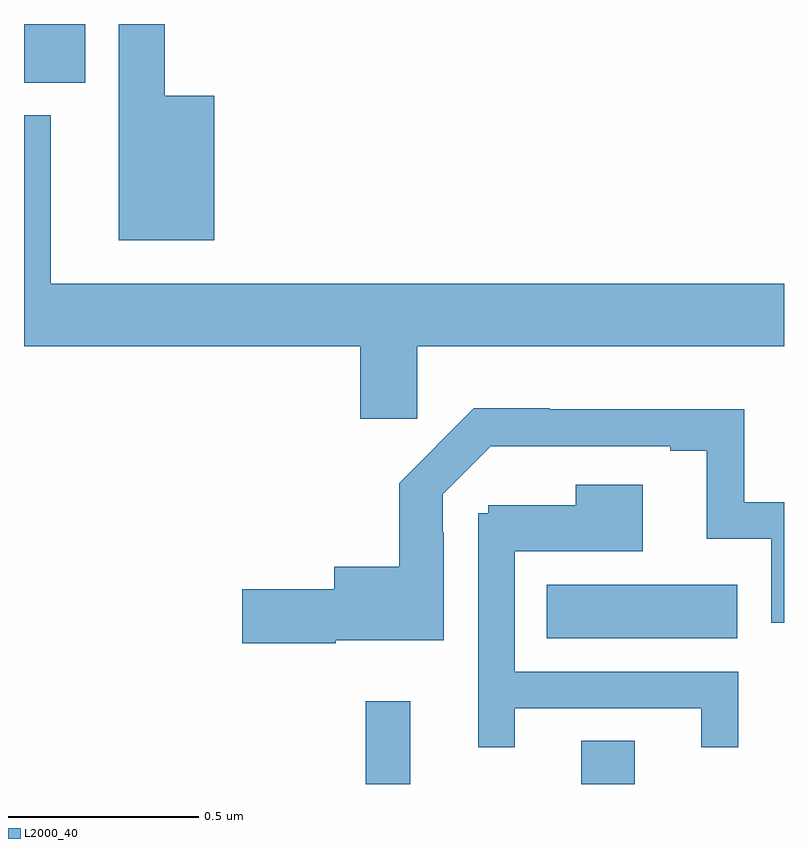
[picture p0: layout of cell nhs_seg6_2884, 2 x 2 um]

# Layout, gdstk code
import gdstk
lib = gdstk.Library(unit=1e-6, precision=1e-09)
def R(c, l, rs):  # rectangles x0, y0, x1, y1
    for r in rs: c.add(gdstk.rectangle(r[:2], r[2:], *l))
def P(c, l, *ps):  # polygons
    for p in ps: c.add(gdstk.Polygon(p, *l))
L2000_40 = (2000, 40)

nhs_seg6_2884 = lib.new_cell('nhs_seg6_2884')
R(nhs_seg6_2884, L2000_40, [(149.899,963.5,150.017,963.718), (150.467,963.5,150.607,963.614), (150.376,963.884,150.877,964.024), (149,965.345,149.161,965.5)])
P(nhs_seg6_2884, L2000_40, [(149.5,965.311),(149.371,965.311),(149.371,965.5),(149.249,965.5),(149.249,964.931),(149.5,964.931)],
  [(150.035,964.652),(151,964.652),(151,964.816),(149.071,964.816),(149.071,965.26),(149,965.26),(149,964.652),(149.885,964.652),(149.885,964.461),(150.035,964.461)],
  [(149.82,963.878),(150.105,963.878),(150.105,964.163),(150.102,964.163),(150.102,964.263),(150.228,964.389),(150.701,964.389),(150.701,964.377),(150.797,964.377),(150.797,964.146),(150.966,964.146),(150.966,963.924),(151,963.924),(151,964.242),(150.895,964.242),(150.895,964.486),(150.383,964.486),(150.383,964.489),(150.184,964.489),(149.987,964.291),(149.987,964.072),(149.816,964.072),(149.816,964.013),(149.574,964.013),(149.574,963.871),(149.82,963.871)],
  [(150.292,963.699),(150.782,963.699),(150.782,963.597),(150.88,963.597),(150.88,963.795),(150.291,963.795),(150.291,964.112),(150.628,964.112),(150.628,964.288),(150.452,964.288),(150.452,964.234),(150.222,964.234),(150.222,964.212),(150.195,964.212),(150.195,963.597),(150.292,963.597)])

lib.write_gds('nhs_seg6_2884.gds')
